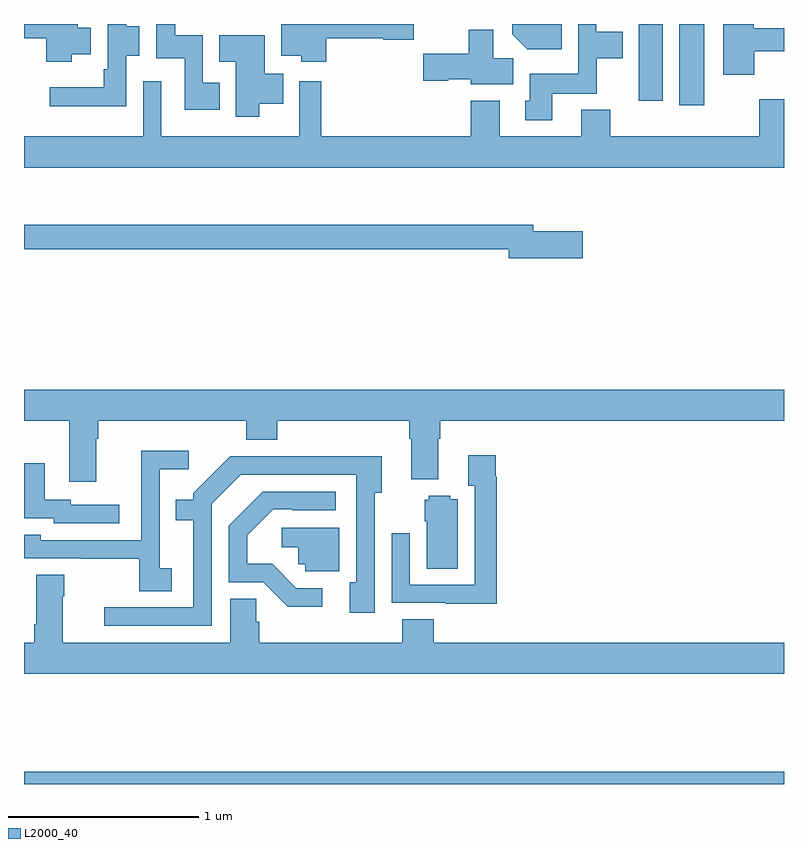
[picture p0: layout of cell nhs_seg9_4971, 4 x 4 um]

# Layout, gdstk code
import gdstk
lib = gdstk.Library(unit=1e-6, precision=1e-09)
def R(c, l, rs):  # rectangles x0, y0, x1, y1
    for r in rs: c.add(gdstk.rectangle(r[:2], r[2:], *l))
def P(c, l, *ps):  # polygons
    for p in ps: c.add(gdstk.Polygon(p, *l))
L2000_40 = (2000, 40)

nhs_seg9_4971 = lib.new_cell('nhs_seg9_4971')
R(nhs_seg9_4971, L2000_40, [(399,1202.5,403,1202.564), (402.449,1206.072,402.58,1206.5), (402.236,1206.096,402.361,1206.5)])
P(nhs_seg9_4971, L2000_40, [(399.537,1206.334),(399.607,1206.334),(399.607,1206.489),(399.537,1206.489),(399.537,1206.5),(399.441,1206.5),(399.441,1206.262),(399.421,1206.262),(399.421,1206.166),(399.135,1206.166),(399.135,1206.068),(399.537,1206.068)],
  [(401.779,1206.134),(402.015,1206.134),(402.015,1206.32),(402.151,1206.32),(402.151,1206.46),(402.012,1206.46),(402.012,1206.5),(401.916,1206.5),(401.916,1206.238),(401.663,1206.238),(401.663,1206.096),(401.639,1206.096),(401.639,1205.994),(401.779,1205.994)],
  [(402.844,1206.356),(403,1206.356),(403,1206.478),(402.842,1206.478),(402.842,1206.5),(402.68,1206.5),(402.68,1206.234),(402.844,1206.234)],
  [(400.03,1206.19),(399.942,1206.19),(399.942,1206.442),(399.795,1206.442),(399.795,1206.5),(399.696,1206.5),(399.696,1206.32),(399.846,1206.32),(399.846,1206.05),(400.03,1206.05)],
  [(401.831,1206.5),(401.57,1206.5),(401.57,1206.446),(401.648,1206.368),(401.831,1206.368)],
  [(400.59,1206.424),(400.89,1206.424),(400.89,1206.416),(401.052,1206.416),(401.052,1206.5),(400.355,1206.5),(400.355,1206.332),(400.46,1206.332),(400.46,1206.302),(400.59,1206.302)],
  [(399.25,1206.341),(399.352,1206.341),(399.352,1206.481),(399.283,1206.481),(399.283,1206.5),(399,1206.5),(399,1206.424),(399.116,1206.424),(399.116,1206.302),(399.25,1206.302)],
  [(401.575,1206.32),(401.47,1206.32),(401.47,1206.469),(401.341,1206.469),(401.341,1206.344),(401.1,1206.344),(401.1,1206.202),(401.232,1206.202),(401.232,1206.209),(401.352,1206.209),(401.352,1206.182),(401.575,1206.182)],
  [(400.237,1206.08),(400.364,1206.08),(400.364,1206.238),(400.267,1206.238),(400.267,1206.442),(400.027,1206.442),(400.027,1206.302),(400.115,1206.302),(400.115,1206.012),(400.237,1206.012)],
  [(403,1206.103),(402.869,1206.103),(402.869,1205.908),(402.086,1205.908),(402.086,1206.049),(401.933,1206.049),(401.933,1205.908),(401.503,1205.908),(401.503,1206.097),(401.351,1206.097),(401.351,1205.908),(400.565,1205.908),(400.565,1206.199),(400.449,1206.199),(400.449,1205.908),(399.723,1205.908),(399.723,1206.199),(399.627,1206.199),(399.627,1205.908),(399,1205.908),(399,1205.744),(403,1205.744)],
  [(401.941,1205.409),(401.68,1205.409),(401.68,1205.443),(399,1205.443),(399,1205.314),(401.552,1205.314),(401.552,1205.267),(401.941,1205.267)],
  [(399.379,1204.316),(399.392,1204.316),(399.392,1204.412),(400.169,1204.412),(400.169,1204.313),(400.334,1204.313),(400.334,1204.412),(401.027,1204.412),(401.027,1204.316),(401.039,1204.316),(401.039,1204.103),(401.179,1204.103),(401.179,1204.316),(401.192,1204.316),(401.192,1204.412),(403,1204.412),(403,1204.576),(399,1204.576),(399,1204.412),(399.239,1204.412),(399.239,1204.092),(399.379,1204.092)],
  [(399.778,1203.636),(399.714,1203.636),(399.714,1204.157),(399.868,1204.157),(399.868,1204.255),(399.616,1204.255),(399.616,1204.016),(399.618,1204.016),(399.618,1203.783),(399.087,1203.783),(399.087,1203.811),(399,1203.811),(399,1203.687),(399.301,1203.687),(399.301,1203.685),(399.606,1203.685),(399.606,1203.514),(399.778,1203.514)],
  [(401.489,1204.118),(401.482,1204.118),(401.482,1204.231),(401.339,1204.231),(401.339,1204.07),(401.373,1204.07),(401.373,1203.549),(401.031,1203.549),(401.031,1203.82),(400.935,1203.82),(400.935,1203.453),(401.219,1203.453),(401.219,1203.449),(401.489,1203.449)],
  [(399.987,1203.975),(400.14,1204.128),(400.749,1204.128),(400.749,1203.562),(400.715,1203.562),(400.715,1203.402),(400.845,1203.402),(400.845,1204.034),(400.882,1204.034),(400.882,1204.226),(400.417,1204.226),(400.417,1204.224),(400.086,1204.224),(399.891,1204.029),(399.891,1203.997),(399.799,1203.997),(399.799,1203.888),(399.89,1203.888),(399.89,1203.429),(399.423,1203.429),(399.423,1203.333),(399.987,1203.333)],
  [(399.502,1203.969),(399.246,1203.969),(399.246,1203.996),(399.109,1203.996),(399.109,1204.189),(399,1204.189),(399,1203.9),(399.156,1203.9),(399.156,1203.873),(399.502,1203.873)],
  [(400.57,1203.531),(400.434,1203.531),(400.307,1203.658),(400.174,1203.658),(400.174,1203.808),(400.311,1203.945),(400.411,1203.945),(400.411,1203.942),(400.642,1203.942),(400.642,1204.038),(400.256,1204.038),(400.077,1203.859),(400.077,1203.561),(400.26,1203.561),(400.388,1203.434),(400.57,1203.434)],
  [(401.284,1204),(401.244,1204),(401.244,1204.018),(401.13,1204.018),(401.13,1203.996),(401.108,1203.996),(401.108,1203.882),(401.12,1203.882),(401.12,1203.634),(401.284,1203.634)],
  [(400.66,1203.849),(400.356,1203.849),(400.356,1203.746),(400.443,1203.746),(400.443,1203.657),(400.479,1203.657),(400.479,1203.621),(400.66,1203.621)],
  [(403,1203.244),(401.156,1203.244),(401.156,1203.368),(400.991,1203.368),(400.991,1203.244),(400.238,1203.244),(400.238,1203.354),(400.223,1203.354),(400.223,1203.476),(400.085,1203.476),(400.085,1203.244),(399.205,1203.244),(399.205,1203.488),(399.213,1203.488),(399.213,1203.601),(399.065,1203.601),(399.065,1203.34),(399.053,1203.34),(399.053,1203.244),(399,1203.244),(399,1203.08),(403,1203.08)])

lib.write_gds('nhs_seg9_4971.gds')
